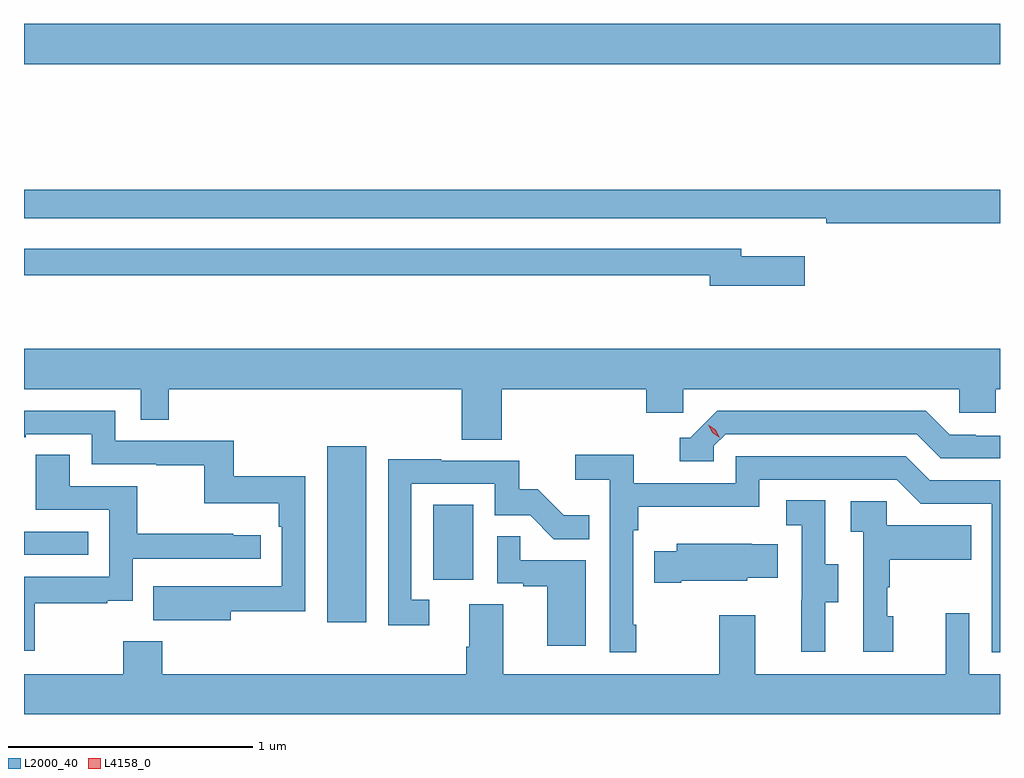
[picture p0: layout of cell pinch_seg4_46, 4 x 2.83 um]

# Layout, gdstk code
import gdstk
lib = gdstk.Library(unit=1e-6, precision=1e-09)
def R(c, l, rs):  # rectangles x0, y0, x1, y1
    for r in rs: c.add(gdstk.rectangle(r[:2], r[2:], *l))
def P(c, l, *ps):  # polygons
    for p in ps: c.add(gdstk.Polygon(p, *l))
L2000_40 = (2000, 40)
L4158_0 = (4158, 0)

pinch_seg4_46 = lib.new_cell('pinch_seg4_46')
R(pinch_seg4_46, L2000_40, [(1118.597,814.512,1118.758,815.233), (1119.032,814.686,1119.196,814.993), (1117.355,814.788,1117.619,814.884), (1117.355,816.8,1121.355,816.964)])
P(pinch_seg4_46, L2000_40, [(1121.355,816.284),(1117.355,816.284),(1117.355,816.168),(1120.39,816.168),(1120.39,816.167),(1120.642,816.167),(1120.642,816.148),(1121.355,816.148)],
  [(1120.555,816.013),(1120.294,816.013),(1120.294,816.042),(1117.355,816.042),(1117.355,815.934),(1120.166,815.934),(1120.166,815.891),(1120.555,815.891)],
  [(1119.314,815.468),(1119.905,815.468),(1119.905,815.37),(1120.056,815.37),(1120.056,815.468),(1121.187,815.468),(1121.187,815.37),(1121.337,815.37),(1121.337,815.468),(1121.355,815.468),(1121.355,815.632),(1117.355,815.632),(1117.355,815.468),(1117.833,815.468),(1117.833,815.341),(1117.949,815.341),(1117.949,815.468),(1119.149,815.468),(1119.149,815.26),(1119.314,815.26)],
  [(1118.203,814.558),(1118.508,814.558),(1118.508,815.11),(1118.215,815.11),(1118.215,815.256),(1117.728,815.256),(1117.728,815.379),(1117.355,815.379),(1117.355,815.271),(1117.363,815.271),(1117.363,815.283),(1117.632,815.283),(1117.632,815.16),(1117.897,815.16),(1117.897,815.155),(1118.094,815.155),(1118.094,815),(1118.399,815),(1118.399,814.904),(1118.412,814.904),(1118.412,814.659),(1118.099,814.659),(1118.099,814.66),(1117.885,814.66),(1117.885,814.52),(1118.203,814.52)],
  [(1120.182,815.235),(1120.23,815.283),(1121.013,815.283),(1121.112,815.184),(1121.355,815.184),(1121.355,815.277),(1121.256,815.277),(1121.256,815.28),(1121.149,815.28),(1121.05,815.379),(1120.197,815.379),(1120.086,815.268),(1120.043,815.268),(1120.043,815.172),(1120.182,815.172)],
  [(1117.399,814.59),(1117.697,814.59),(1117.697,814.601),(1117.8,814.601),(1117.8,814.773),(1118.326,814.773),(1118.326,814.869),(1118.213,814.869),(1118.213,814.874),(1117.82,814.874),(1117.82,815.07),(1117.543,815.07),(1117.543,815.198),(1117.403,815.198),(1117.403,814.974),(1117.704,814.974),(1117.704,814.698),(1117.355,814.698),(1117.355,814.395),(1117.399,814.395)],
  [(1119.865,814.501),(1119.852,814.501),(1119.852,814.889),(1119.872,814.889),(1119.872,814.985),(1120.368,814.985),(1120.368,815.097),(1120.932,815.097),(1121.031,814.998),(1121.322,814.998),(1121.322,814.389),(1121.355,814.389),(1121.355,815.094),(1121.068,815.094),(1120.969,815.193),(1120.272,815.193),(1120.272,815.082),(1119.854,815.082),(1119.854,815.198),(1119.615,815.198),(1119.615,815.096),(1119.756,815.096),(1119.756,814.389),(1119.865,814.389)],
  [(1119.016,814.605),(1118.943,814.605),(1118.943,815.079),(1119.285,815.079),(1119.285,814.95),(1119.429,814.95),(1119.527,814.852),(1119.671,814.852),(1119.671,814.951),(1119.567,814.951),(1119.46,815.058),(1119.384,815.058),(1119.384,815.175),(1119.065,815.175),(1119.065,815.18),(1118.847,815.18),(1118.847,814.5),(1119.016,814.5)],
  [(1120.639,814.594),(1120.693,814.594),(1120.693,814.749),(1120.638,814.749),(1120.638,815.012),(1120.479,815.012),(1120.479,814.909),(1120.542,814.909),(1120.542,814.605),(1120.541,814.605),(1120.541,814.392),(1120.639,814.392)],
  [(1120.918,814.536),(1120.893,814.536),(1120.893,814.655),(1120.903,814.655),(1120.903,814.769),(1121.237,814.769),(1121.237,814.909),(1120.89,814.909),(1120.89,815.007),(1120.743,815.007),(1120.743,814.883),(1120.794,814.883),(1120.794,814.392),(1120.918,814.392)],
  [(1119.658,814.767),(1119.389,814.767),(1119.389,814.865),(1119.294,814.865),(1119.294,814.671),(1119.401,814.671),(1119.401,814.659),(1119.5,814.659),(1119.5,814.416),(1119.658,814.416)],
  [(1120.048,814.682),(1120.32,814.682),(1120.32,814.694),(1120.445,814.694),(1120.445,814.831),(1120.337,814.831),(1120.337,814.834),(1120.031,814.834),(1120.031,814.804),(1119.937,814.804),(1119.937,814.675),(1120.048,814.675)],
  [(1121.355,814.3),(1121.229,814.3),(1121.229,814.549),(1121.132,814.549),(1121.132,814.3),(1120.351,814.3),(1120.351,814.54),(1120.204,814.54),(1120.204,814.3),(1119.319,814.3),(1119.319,814.586),(1119.179,814.586),(1119.179,814.412),(1119.167,814.412),(1119.167,814.3),(1117.922,814.3),(1117.922,814.435),(1117.762,814.435),(1117.762,814.3),(1117.355,814.3),(1117.355,814.136),(1121.355,814.136)])
P(pinch_seg4_46, L4158_0, [(1120.206,815.269),(1120.176,815.289),(1120.16,815.322),(1120.16,815.322),(1120.16,815.322),(1120.191,815.302),(1120.206,815.269),(1120.206,815.269)])

lib.write_gds('pinch_seg4_46.gds')
